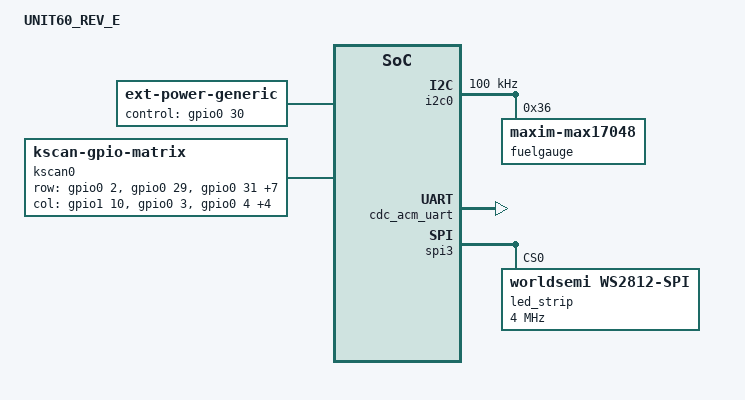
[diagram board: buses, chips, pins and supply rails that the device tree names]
/*
 * Copyright (c) 2025 Eason
 *
 * SPDX-License-Identifier: MIT
 */

/*
 * BQ24075 charging status (implemented in unit60_charger.c):
 *   Charge status (open-drain, active-low): P1.13 (E73 pin 6), 10k series
 *   Power good (inverted logic): P0.06 (E73 pin 14), reserved for future use
 * CHG line needs external pull-up; internal pull-up enabled in code.
 */

#include <dt-bindings/led/led.h>
#include "unit60_rev_e-pinctrl.dtsi"
#include "unit60_rev_e-layouts.dtsi"
#include "unit60_rev_e-transforms.dtsi"

/ {
    model = "UNIT60_REV_E";
    compatible = "eason,unit60";

    chosen {
        zmk,kscan = &kscan0;
        zmk,physical-layout = &layout_0;
        zmk,underglow = &led_strip;
        zmk,battery = &fuelgauge;
        zmk,studio-rpc-uart = &cdc_acm_uart;
    };

    aliases {
        status-ws2812 = &led_strip;
    };

    /* 三色 LED 已移除：全部状态指示由 WS2812 单颗承担
     * 原引脚 P0.15(绿) / P0.17(红) / P0.12(蓝) 现已空闲
     */

    ext-power {
        compatible = "zmk,ext-power-generic";
        control-gpios = <&gpio0 30 GPIO_ACTIVE_HIGH>;
    };

    kscan0: kscan {
        compatible = "zmk,kscan-gpio-matrix";
        wakeup-source;
        diode-direction = "col2row";
        row-gpios
            = <&gpio0 2  (GPIO_ACTIVE_HIGH | GPIO_PULL_DOWN)>
            , <&gpio0 29 (GPIO_ACTIVE_HIGH | GPIO_PULL_DOWN)>
            , <&gpio0 31 (GPIO_ACTIVE_HIGH | GPIO_PULL_DOWN)>
            , <&gpio1 0 (GPIO_ACTIVE_HIGH | GPIO_PULL_DOWN)>
            , <&gpio0 26 (GPIO_ACTIVE_HIGH | GPIO_PULL_DOWN)>
            , <&gpio0 22 (GPIO_ACTIVE_HIGH | GPIO_PULL_DOWN)>
            , <&gpio0 8 (GPIO_ACTIVE_HIGH | GPIO_PULL_DOWN)>
            , <&gpio0 9 (GPIO_ACTIVE_HIGH | GPIO_PULL_DOWN)>
            , <&gpio1 4 (GPIO_ACTIVE_HIGH | GPIO_PULL_DOWN)>
            , <&gpio1 11 (GPIO_ACTIVE_HIGH | GPIO_PULL_DOWN)>
            ;
        col-gpios
            = <&gpio1 10  GPIO_ACTIVE_HIGH>
            , <&gpio0 3  GPIO_ACTIVE_HIGH>
            , <&gpio0 4  GPIO_ACTIVE_HIGH>
            , <&gpio0 28 GPIO_ACTIVE_HIGH>
            , <&gpio1 6 GPIO_ACTIVE_HIGH>
            , <&gpio0 10  GPIO_ACTIVE_HIGH>
            , <&gpio1 2 GPIO_ACTIVE_HIGH>
            ;
    };
};

&i2c0 {
    status = "okay";
    compatible = "nordic,nrf-twim";
    pinctrl-0 = <&i2c0_default>;
    pinctrl-1 = <&i2c0_sleep>;
    pinctrl-names = "default", "sleep";
    clock-frequency = <100000>;

    fuelgauge: max17048@36 {
        compatible = "zmk,maxim-max17048";
        reg = <0x36>;
    };
};

&usbd {
    cdc_acm_uart: cdc_acm_uart {
        compatible = "zephyr,cdc-acm-uart";
    };
};

&spi3 {
    compatible = "nordic,nrf-spim";
    status = "okay";
    pinctrl-0 = <&spi3_default>;
    pinctrl-1 = <&spi3_sleep>;
    pinctrl-names = "default", "sleep";
    led_strip: ws2812@0 {
        compatible = "worldsemi,ws2812-spi";
        reg = <0>;
        spi-max-frequency = <4000000>;
        chain-length = <1>;
        spi-one-frame = <0x70>;
        spi-zero-frame = <0x40>;
        color-mapping = <LED_COLOR_ID_GREEN LED_COLOR_ID_RED LED_COLOR_ID_BLUE>;
    };
};
